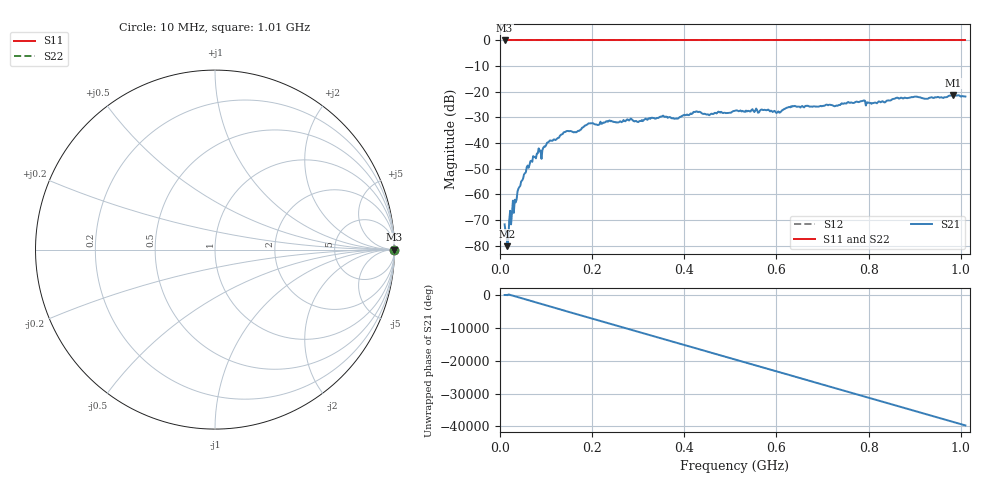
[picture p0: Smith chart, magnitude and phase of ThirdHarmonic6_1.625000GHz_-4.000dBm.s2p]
! 8/16/2025 7:24:39 PM
! C:\ANRITSUVNA\TEMP\TEMP.S2P
! CHANNEL.1
! TR.MEASUREMENT
! RAW.DATA
! RF.CORRECTION.OFF
! AVERAGING.OFF
! IF.BANDWIDTH: 5KHZ
! SWEEPTYPE:  FREQ.SWEEP(Linear)
! Reference Plane Port Info
! PORT:  PORT1  PORT2
! DISTANCE:  0  m  0  m
! TIME:  0  s  0  s
! PHASE.OFFSET:  0  deg.  0  deg.
! LOSS:  0  dB  0  dB
! REF.LOSS:  0  dB  0  dB
! REF.FREQ:  0  Hz  0  Hz
! Power Info
! POWER:  -20  dBm  -20  dBm
! EFF.POWER:  -20  dBm  -20  dBm
! SOURCE.ATTEN:  0  dB  0  dB
! TEST.ATTEN:  0  dB  0  dB
# GHZ S RI R 50.0
! FREQ.GHZ  S11RE  S11IM  S21RE  S21IM  S12RE  S12IM  S22RE  S22IM
!; PortSelection: Port_12
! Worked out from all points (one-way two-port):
!   501 points, 10 MHz to 1.01 GHz, reference 50 ohm
!   highest |S21| = -21.24 dB at 984 MHz (marker M1); lowest = -80.2 dB at 16 MHz (marker M2)
!   lowest |S11| = 0.0 dB at 10 MHz (marker M3)
!   |S11| at or under -10 dB: nowhere
!   |S22| runs from 0.0 to 0.0 dB; largest |S21 - S12| = 1.1
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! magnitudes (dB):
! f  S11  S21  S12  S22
! 10 MHz  0.0  -71.6  0.0  0.0
! 14 MHz  0.0  -75.4  0.0  0.0
! 16 MHz  0.0  -80.2  0.0  0.0
! 20 MHz  0.0  -70.3  0.0  0.0
! 24 MHz  0.0  -71.7  0.0  0.0
! 42 MHz  0.0  -57.1  0.0  0.0
! 70 MHz  0.0  -47.3  0.0  0.0
! 106 MHz  0.0  -39.5  0.0  0.0
! 142 MHz  0.0  -35.6  0.0  0.0
! 178 MHz  0.0  -34.0  0.0  0.0
! 196 MHz  0.0  -32.3  0.0  0.0
! 344 MHz  0.0  -30.2  0.0  0.0
! 382 MHz  0.0  -30.5  0.0  0.0
! 424 MHz  0.0  -27.8  0.0  0.0
! 452 MHz  0.0  -28.9  0.0  0.0
! 510 MHz  0.0  -27.4  0.0  0.0
! 604 MHz  0.0  -27.6  0.0  0.0
! 636 MHz  0.0  -25.5  0.0  0.0
! 678 MHz  0.0  -25.9  0.0  0.0
! 844 MHz  0.0  -23.4  0.0  0.0
! 984 MHz  0.0  -21.2  0.0  0.0
! 1.01 GHz  0.0  -21.8  0.0  0.0
